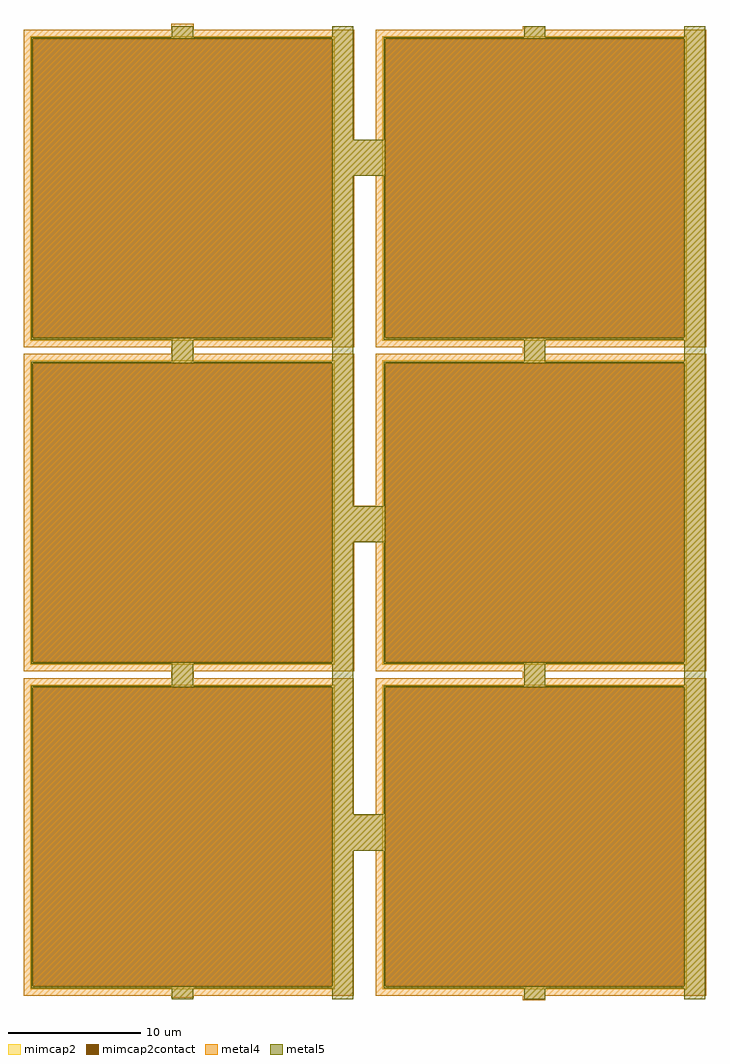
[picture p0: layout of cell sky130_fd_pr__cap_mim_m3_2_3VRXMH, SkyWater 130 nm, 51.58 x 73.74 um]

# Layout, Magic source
magic
tech sky130A
<< metal4 >>
rect -1541 3650 -1371 3692
rect 1115 3650 1285 3674
rect -2656 2819 -158 3650
rect 5 2819 2502 3650
rect -2656 2545 2502 2819
rect -2656 1250 -158 2545
rect 5 1250 2502 2545
rect -1541 1200 -1371 1250
rect 1115 1200 1285 1250
rect -2656 53 -159 1200
rect 5 53 2502 1200
rect -2656 -221 2502 53
rect -2656 -1200 -159 -221
rect 5 -1200 2502 -221
rect -1541 -1250 -1371 -1200
rect 1115 -1250 1285 -1200
rect -2656 -2282 -161 -1250
rect 6 -2282 2502 -1250
rect -2656 -2556 2502 -2282
rect -2656 -3650 -161 -2556
rect 6 -3650 2502 -2556
rect -1541 -3664 -1371 -3650
rect 1115 -3682 1285 -3650
<< mimcap2 >>
rect -2606 3580 -306 3600
rect -2606 1320 -2586 3580
rect -326 1320 -306 3580
rect -2606 1300 -306 1320
rect 55 3580 2355 3600
rect 55 1320 75 3580
rect 2335 1320 2355 3580
rect 55 1300 2355 1320
rect -2606 1130 -306 1150
rect -2606 -1130 -2586 1130
rect -326 -1130 -306 1130
rect -2606 -1150 -306 -1130
rect 55 1130 2355 1150
rect 55 -1130 75 1130
rect 2335 -1130 2355 1130
rect 55 -1150 2355 -1130
rect -2606 -1320 -306 -1300
rect -2606 -3580 -2586 -1320
rect -326 -3580 -306 -1320
rect -2606 -3600 -306 -3580
rect 55 -1320 2355 -1300
rect 55 -3580 75 -1320
rect 2335 -3580 2355 -1320
rect 55 -3600 2355 -3580
<< mimcap2contact >>
rect -2586 1320 -326 3580
rect 75 1320 2335 3580
rect -2586 -1130 -326 1130
rect 75 -1130 2335 1130
rect -2586 -3580 -326 -1320
rect 75 -3580 2335 -1320
<< metal5 >>
rect -1536 3592 -1376 3675
rect -326 3592 -166 3675
rect 1125 3592 1285 3675
rect 2335 3592 2495 3675
rect -2598 3580 -166 3592
rect -2598 1320 -2586 3580
rect -326 2817 -166 3580
rect 63 3580 2495 3592
rect 63 2817 75 3580
rect -326 2544 75 2817
rect -326 1320 -166 2544
rect -2598 1308 -166 1320
rect 63 1320 75 2544
rect 2335 1320 2495 3580
rect 63 1308 2495 1320
rect -1536 1142 -1376 1308
rect -326 1142 -166 1308
rect 1125 1142 1285 1308
rect 2335 1142 2495 1308
rect -2598 1130 -166 1142
rect -2598 -1130 -2586 1130
rect -326 49 -166 1130
rect 63 1130 2495 1142
rect 63 49 75 1130
rect -326 -224 75 49
rect -326 -1130 -166 -224
rect -2598 -1142 -166 -1130
rect 63 -1130 75 -224
rect 2335 -1130 2495 1130
rect 63 -1142 2495 -1130
rect -1536 -1308 -1376 -1142
rect -326 -1308 -166 -1142
rect 1125 -1308 1285 -1142
rect 2335 -1308 2495 -1142
rect -2598 -1320 -166 -1308
rect -2598 -3580 -2586 -1320
rect -326 -2280 -166 -1320
rect 63 -1320 2495 -1308
rect 63 -2280 75 -1320
rect -326 -2553 75 -2280
rect -326 -3580 -166 -2553
rect -2598 -3592 -166 -3580
rect 63 -3580 75 -2553
rect 2335 -3580 2495 -1320
rect 63 -3592 2495 -3580
rect -1536 -3675 -1376 -3592
rect -326 -3675 -166 -3592
rect 1125 -3675 1285 -3592
rect 2335 -3675 2495 -3592
<< properties >>
string FIXED_BBOX 5 1250 2405 3650
string gencell sky130_fd_pr__cap_mim_m3_2
string library sky130
string parameters w 23.00 l 23.00 val 1.075k carea 2.00 cperi 0.19 nx 2 ny 3 dummy 0 square 0 lmin 2.00 wmin 2.00 lmax 30.0 wmax 30.0 dc 0 bconnect 1 tconnect 1 ccov 100
<< end >>
